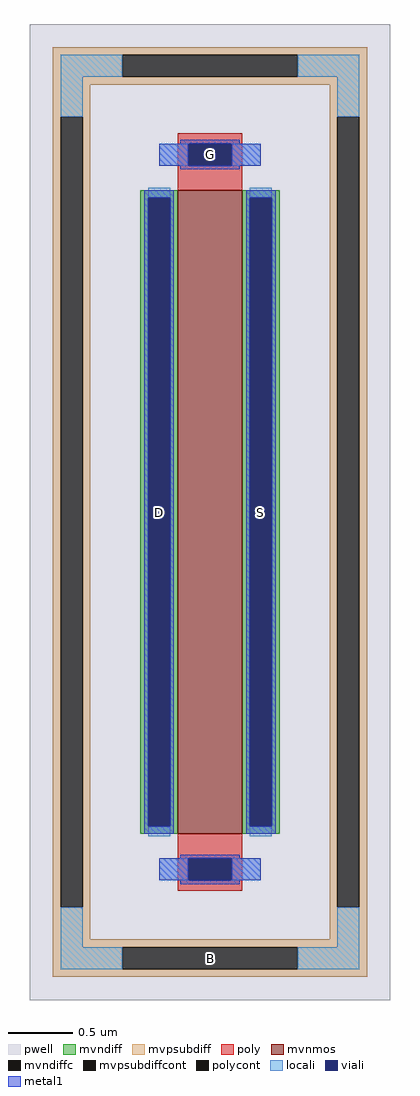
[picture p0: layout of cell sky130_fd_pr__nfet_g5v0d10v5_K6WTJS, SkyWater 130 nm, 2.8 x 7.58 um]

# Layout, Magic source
magic
tech sky130A
magscale 1 2
<< pwell >>
rect -280 -758 280 758
<< mvnmos >>
rect -50 -500 50 500
<< mvndiff >>
rect -108 488 -50 500
rect -108 -488 -96 488
rect -62 -488 -50 488
rect -108 -500 -50 -488
rect 50 488 108 500
rect 50 -488 62 488
rect 96 -488 108 488
rect 50 -500 108 -488
<< mvndiffc >>
rect -96 -488 -62 488
rect 62 -488 96 488
<< mvpsubdiff >>
rect -244 710 244 722
rect -244 676 -136 710
rect 136 676 244 710
rect -244 664 244 676
rect -244 614 -186 664
rect -244 -614 -232 614
rect -198 -614 -186 614
rect 186 614 244 664
rect -244 -664 -186 -614
rect 186 -614 198 614
rect 232 -614 244 614
rect 186 -664 244 -614
rect -244 -676 244 -664
rect -244 -710 -136 -676
rect 136 -710 244 -676
rect -244 -722 244 -710
<< mvpsubdiffcont >>
rect -136 676 136 710
rect -232 -614 -198 614
rect 198 -614 232 614
rect -136 -710 136 -676
<< poly >>
rect -50 572 50 588
rect -50 538 -34 572
rect 34 538 50 572
rect -50 500 50 538
rect -50 -538 50 -500
rect -50 -572 -34 -538
rect 34 -572 50 -538
rect -50 -588 50 -572
<< polycont >>
rect -34 538 34 572
rect -34 -572 34 -538
<< locali >>
rect -232 676 -136 710
rect 136 676 232 710
rect -232 614 -198 676
rect 198 614 232 676
rect -79 538 -34 572
rect 34 538 79 572
rect -96 488 -62 504
rect -96 -504 -62 -488
rect 62 488 96 504
rect 62 -504 96 -488
rect -79 -572 -34 -538
rect 34 -572 79 -538
rect -232 -676 -198 -614
rect 198 -676 232 -614
rect -232 -710 -136 -676
rect 136 -710 232 -676
<< viali >>
rect -34 538 34 572
rect -96 -488 -62 488
rect 62 -488 96 488
rect -34 -572 34 -538
<< metal1 >>
rect -46 572 46 578
rect -79 538 -34 572
rect 34 538 79 572
rect -46 532 46 538
rect -102 488 -56 500
rect -102 -488 -96 488
rect -62 -488 -56 488
rect -102 -500 -56 -488
rect 56 488 102 500
rect 56 -488 62 488
rect 96 -488 102 488
rect 56 -500 102 -488
rect -46 -538 46 -532
rect -79 -572 -34 -538
rect 34 -572 79 -538
rect -46 -578 46 -572
<< labels >>
rlabel mvpsubdiffcont 0 -693 0 -693 0 B
port 1 nsew
rlabel mvndiffc -79 0 -79 0 0 D
port 2 nsew
rlabel mvndiffc 79 0 79 0 0 S
port 3 nsew
rlabel polycont 0 555 0 555 0 G
port 4 nsew
<< properties >>
string FIXED_BBOX -215 -693 215 693
string gencell sky130_fd_pr__nfet_g5v0d10v5
string library sky130
string parameters w 5 l 0.5 m 1 nf 1 diffcov 100 polycov 100 guard 1 glc 1 grc 1 gtc 1 gbc 1 tbcov 100 rlcov 100 topc 1 botc 1 poverlap 0 doverlap 1 lmin 0.50 wmin 0.42 class mosfet compatible {sky130_fd_pr__nfet_01v8 sky130_fd_pr__nfet_01v8_lvt  sky130_fd_bs_flash__special_sonosfet_star  sky130_fd_pr__nfet_g5v0d10v5 sky130_fd_pr__nfet_05v0_nvt  sky130_fd_pr__nfet_03v3_nvt} full_metal 1 conn_gates 1 viasrc 100 viadrn 100 viagate 100 viagb 0 viagr 0 viagl 0 viagt 0 doports 1
<< end >>
